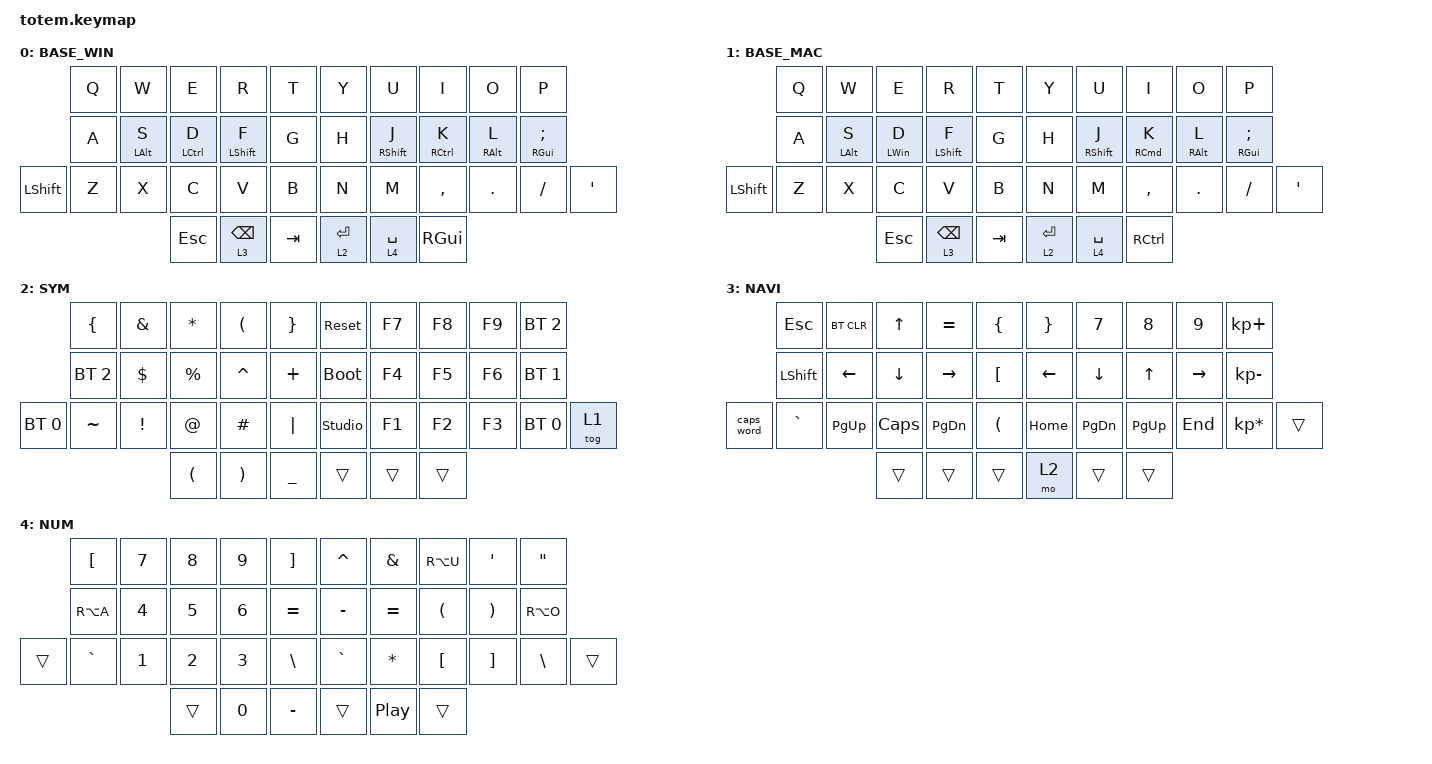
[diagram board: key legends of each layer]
//
//                                                        ▀▀▀▀▀     ▀▀▀▀▀          ▀▀█▀▀
//                                                        ▄▀▀▀▄  ▄  ▄▀▀▀▄  ▄  ▄▀▀▀▄  █  ▄▀▀▀▄
//                                                        █   █  █  █   █  █  █   █  █  █   █
//                                                         ▀▀▀   █   ▀▀▀   █   ▀▀▀   ▀   ▀▀▀
//                                                               █      ▄▄▄█▄▄▄    █   █  
//                                                               ▀      █  █  █     █▄█
//                                                             ▀▀▀▀▀    █  █  █      ▀
//                                                                      ▀  ▀  ▀
//
// ▄▄▄▄▄▄▄▄▄▄▄▄▄▄▄▄▄▄▄▄▄▄▄▄▄▄▄▄▄▄▄▄▄▄▄▄▄▄▄▄▄▄▄▄▄▄▄▄▄▄▄▄▄▄▄▄▄▄▄▄▄▄▄▄▄▄▄▄▄▄▄▄▄▄▄▄▄▄▄▄▄▄▄▄▄▄▄▄▄▄▄▄▄▄▄▄▄▄▄▄▄▄▄▄▄▄▄▄▄▄▄▄▄▄▄▄▄▄▄▄▄▄▄▄▄▄▄▄▄▄▄▄▄▄▄▄▄▄▄▄▄▄▄▄▄▄▄▄▄

#include <behaviors.dtsi>
#include <dt-bindings/zmk/bt.h>
#include <dt-bindings/zmk/keys.h>

#define BASE 0
#define NAV  1
#define SYM  2
#define ADJ  3

&mt {
    quick-tap-ms = <250>;
    global-quick-tap;
    flavor = "tap-preferred";
    tapping-term-ms = <160>;
};

&lt {
    quick-tap-ms = <250>;
    tapping-term-ms = <160>;
    flavor = "tap-preferred";
};

/ {
    combos {
        compatible = "zmk,combos";

        combo_esc {
            timeout-ms = <50>;
            key-positions = <0 1>;
            bindings = <&kp ESC>;
        };
    };

    macros {
        gif: gif {
            label = "giphy";
            compatible = "zmk,behavior-macro";
            #binding-cells = <0>;
            bindings =
                <&macro_press>,
                <&kp LSHFT>,
                <&macro_tap>,
                <&kp N2>,
                <&macro_release>,
                <&kp LSHFT>,
                <&macro_tap>,
                <&kp G &kp I &kp F>;
        };
    };

    keymap {
        compatible = "zmk,keymap";

        // ▄▄▄▄▄▄▄▄▄▄▄▄▄▄▄▄▄▄▄▄▄▄▄▄▄▄▄▄▄▄▄▄▄▄▄▄▄▄▄▄▄▄▄▄▄▄▄▄▄▄▄▄▄▄▄▄▄▄▄▄▄▄▄▄▄▄▄▄▄▄▄▄▄▄▄▄▄▄▄▄▄▄▄▄▄▄▄▄▄▄▄▄▄▄▄▄▄▄▄▄▄▄▄▄▄▄▄▄▄▄▄▄▄▄▄▄▄▄▄▄▄▄▄▄▄▄▄▄▄▄▄▄▄▄▄▄▄▄▄▄▄▄▄▄▄▄▄▄▄

        windows_base {
            // ┏━━━━━━━━━━━━━━━━━━━━━━━━━━━━━━━━━━━━━━━┓

            label = "BASE_WIN";

            // ┗━━━━━━━━━━━━━━━━━━━━━━━━━━━━━━━━━━━━━━━┛
            //             ┏━━━━━━━━━━━┳━━━━━━━━━━━┳━━━━━━━━━━━┳━━━━━━━━━━━┳━━━━━━━━━━━┓   ┏━━━━━━━━━━━┳━━━━━━━━━━━┳━━━━━━━━━━━┳━━━━━━━━━━━┳━━━━━━━━━━━┓
            //             ┃     Q     ┃     W     ┃     F     ┃     P     ┃     G     ┃   ┃     J     ┃     L     ┃     U     ┃     Y     ┃     ;     ┃
            //             ┣━━━━━━━━━━━╋━━━━━━━━━━━╋━━━━━━━━━━━╋━━━━━━━━━━━╋━━━━━━━━━━━┫   ┣━━━━━━━━━━━╋━━━━━━━━━━━╋━━━━━━━━━━━╋━━━━━━━━━━━╋━━━━━━━━━━━┫
            //             ┃     A     ┃     R     ┃     S     ┃     T     ┃     D     ┃   ┃     H     ┃     N     ┃     E     ┃     I     ┃     O     ┃
            // ┏━━━━━━━━━━━╋━━━━━━━━━━━╋━━━━━━━━━━━╋━━━━━━━━━━━╋━━━━━━━━━━━╋━━━━━━━━━━━┫   ┣━━━━━━━━━━━╋━━━━━━━━━━━╋━━━━━━━━━━━╋━━━━━━━━━━━╋━━━━━━━━━━━╋━━━━━━━━━━━┓
            // ┃           ┃     Z     ┃     X     ┃     C     ┃     V     ┃     B     ┃   ┃     K     ┃     M     ┃     ,     ┃     .     ┃     /     ┃           ┃
            // ┗━━━━━━━━━━━┻━━━━━━━━━━━┻━━━━━━━━━━━╋━━━━━━━━━━━╋━━━━━━━━━━━╋━━━━━━━━━━━┫   ┣━━━━━━━━━━━╋━━━━━━━━━━━╋━━━━━━━━━━━╋━━━━━━━━━━━┻━━━━━━━━━━━┻━━━━━━━━━━━┛
            //                                     ┃           ┃    TAB    ┃    SPC    ┃   ┃   ENTER   ┃   BSPC    ┃           ┃
            //                                     ┗━━━━━━━━━━━┻━━━━━━━━━━━┻━━━━━━━━━━━┛   ┗━━━━━━━━━━━┻━━━━━━━━━━━┻━━━━━━━━━━━┛

            bindings = <
                &kp Q  &kp W       &kp E        &kp R            &kp T      &kp Y        &kp U        &kp I          &kp O       &kp P
                &kp A  &mt LALT S  &mt LCTRL D  &mt LSHFT F      &kp G      &kp H        &mt RSHFT J  &mt RCTRL K    &mt RALT L  &mt RGUI SEMI
&kp LEFT_SHIFT  &kp Z  &kp X       &kp C        &kp V            &kp B      &kp N        &kp M        &kp COMMA      &kp DOT     &kp SLASH      &kp APOS
                                   &kp ESC      &lt 3 BACKSPACE  &kp TAB    &lt 2 ENTER  &lt 4 SPACE  &kp RIGHT_GUI
            >;
        };

        MAC_BASE {
            label = "BASE_MAC";
            bindings = <
                &kp Q  &kp W       &kp E       &kp R            &kp T      &kp Y        &kp U        &kp I       &kp O       &kp P
                &kp A  &mt LALT S  &mt LWIN D  &mt LSHFT F      &kp G      &kp H        &mt RSHFT J  &mt RCMD K  &mt RALT L  &mt RGUI SEMI
&kp LEFT_SHIFT  &kp Z  &kp X       &kp C       &kp V            &kp B      &kp N        &kp M        &kp COMMA   &kp DOT     &kp SLASH      &kp APOS
                                   &kp ESC     &lt 3 BACKSPACE  &kp TAB    &lt 2 ENTER  &lt 4 SPACE  &kp RCTRL
            >;
        };

        sym_layer {
            // ┏━━━━━━━━━━━━━━━━━━━━━━━━━━━━━━━━━━━━━━━┓

            label = "SYM";

            // ┗━━━━━━━━━━━━━━━━━━━━━━━━━━━━━━━━━━━━━━━┛
            //             ┏━━━━━━━━━━━┳━━━━━━━━━━━┳━━━━━━━━━━━┳━━━━━━━━━━━┳━━━━━━━━━━━┓   ┏━━━━━━━━━━━┳━━━━━━━━━━━┳━━━━━━━━━━━┳━━━━━━━━━━━┳━━━━━━━━━━━┓
            //             ┃   RESET   ┃ BT CLEAR  ┃  OUT TOG  ┃           ┃           ┃   ┃           ┃    F7     ┃    F8     ┃    F9     ┃    F12    ┃
            //             ┣━━━━━━━━━━━╋━━━━━━━━━━━╋━━━━━━━━━━━╋━━━━━━━━━━━╋━━━━━━━━━━━┫   ┣━━━━━━━━━━━╋━━━━━━━━━━━╋━━━━━━━━━━━╋━━━━━━━━━━━╋━━━━━━━━━━━┫
            //             ┃ BOOTLOAD  ┃ BT NEXT   ┃           ┃           ┃           ┃   ┃           ┃    F4     ┃    F5     ┃    F6     ┃    F11    ┃
            // ┏━━━━━━━━━━━╋━━━━━━━━━━━╋━━━━━━━━━━━╋━━━━━━━━━━━╋━━━━━━━━━━━╋━━━━━━━━━━━┫   ┣━━━━━━━━━━━╋━━━━━━━━━━━╋━━━━━━━━━━━╋━━━━━━━━━━━╋━━━━━━━━━━━╋━━━━━━━━━━━┓
            // ┃           ┃           ┃ BT PREV   ┃           ┃           ┃           ┃   ┃           ┃    F1     ┃    F2     ┃    F3     ┃    F10    ┃           ┃
            // ┗━━━━━━━━━━━┻━━━━━━━━━━━┻━━━━━━━━━━━╋━━━━━━━━━━━╋━━━━━━━━━━━╋━━━━━━━━━━━┫   ┣━━━━━━━━━━━╋━━━━━━━━━━━╋━━━━━━━━━━━╋━━━━━━━━━━━┻━━━━━━━━━━━┻━━━━━━━━━━━┛
            //                                     ┃           ┃           ┃           ┃   ┃           ┃           ┃           ┃
            //                                     ┗━━━━━━━━━━━┻━━━━━━━━━━━┻━━━━━━━━━━━┛   ┗━━━━━━━━━━━┻━━━━━━━━━━━┻━━━━━━━━━━━┛

            bindings = <
              &kp LEFT_BRACE  &kp AMPERSAND  &kp ASTERISK          &kp LEFT_PARENTHESIS   &kp RIGHT_BRACE    &sys_reset      &kp F7  &kp F8  &kp F9  &bt BT_SEL 2
              &bt BT_SEL 2    &kp DOLLAR     &kp PERCENT           &kp CARET              &kp PLUS           &bootloader     &kp F4  &kp F5  &kp F6  &bt BT_SEL 1
&bt BT_SEL 0  &kp TILDE       &kp EXCL       &kp AT_SIGN           &kp HASH               &kp PIPE           &studio_unlock  &kp F1  &kp F2  &kp F3  &bt BT_SEL 0  &tog 1
                                             &kp LEFT_PARENTHESIS  &kp RIGHT_PARENTHESIS  &kp UNDER          &trans          &trans  &trans
            >;
        };

        nav_layer {
            // ┏━━━━━━━━━━━━━━━━━━━━━━━━━━━━━━━━━━━━━━━┓

            label = "NAVI";

            // ┗━━━━━━━━━━━━━━━━━━━━━━━━━━━━━━━━━━━━━━━┛
            //             ┏━━━━━━━━━━━┳━━━━━━━━━━━┳━━━━━━━━━━━┳━━━━━━━━━━━┳━━━━━━━━━━━┓   ┏━━━━━━━━━━━┳━━━━━━━━━━━┳━━━━━━━━━━━┳━━━━━━━━━━━┳━━━━━━━━━━━┓
            //             ┃           ┃           ┃     UP    ┃           ┃     {     ┃   ┃     }     ┃     7     ┃     8     ┃     9     ┃     +     ┃
            //             ┣━━━━━━━━━━━╋━━━━━━━━━━━╋━━━━━━━━━━━╋━━━━━━━━━━━╋━━━━━━━━━━━┫   ┣━━━━━━━━━━━╋━━━━━━━━━━━╋━━━━━━━━━━━╋━━━━━━━━━━━╋━━━━━━━━━━━┫
            //             ┃   SHIFT   ┃   LEFT    ┃    DOWN   ┃   RIGHT   ┃     [     ┃   ┃     ]     ┃     4     ┃     5     ┃     6     ┃     -     ┃
            // ┏━━━━━━━━━━━╋━━━━━━━━━━━╋━━━━━━━━━━━╋━━━━━━━━━━━╋━━━━━━━━━━━╋━━━━━━━━━━━┫   ┣━━━━━━━━━━━╋━━━━━━━━━━━╋━━━━━━━━━━━╋━━━━━━━━━━━╋━━━━━━━━━━━╋━━━━━━━━━━━┓
            // ┃           ┃           ┃   P UP    ┃  C LOCK   ┃  P DOWN   ┃     (     ┃   ┃     )     ┃     1     ┃     2     ┃     3     ┃     *     ┃           ┃
            // ┗━━━━━━━━━━━┻━━━━━━━━━━━┻━━━━━━━━━━━╋━━━━━━━━━━━╋━━━━━━━━━━━╋━━━━━━━━━━━┫   ┣━━━━━━━━━━━╋━━━━━━━━━━━╋━━━━━━━━━━━╋━━━━━━━━━━━┻━━━━━━━━━━━┻━━━━━━━━━━━┛
            //                                     ┃           ┃    TAB    ┃    SPC    ┃   ┃    DEL    ┃     0     ┃           ┃
            //                                     ┗━━━━━━━━━━━┻━━━━━━━━━━━┻━━━━━━━━━━━┛   ┗━━━━━━━━━━━┻━━━━━━━━━━━┻━━━━━━━━━━━┛

            bindings = <
            &kp ESC    &bt BT_CLR  &kp UP    &kp EQUAL  &kp LBRC    &kp RBRC  &kp N7         &kp N8        &kp N9     &kp KP_PLUS
            &kp LSHFT  &kp LEFT    &kp DOWN  &kp RIGHT  &kp LBKT    &kp LEFT  &kp DOWN       &kp UP_ARROW  &kp RIGHT  &kp KP_MINUS
&caps_word  &kp GRAVE  &kp PG_UP   &kp CAPS  &kp PG_DN  &kp LPAR    &kp HOME  &kp PAGE_DOWN  &kp PG_UP     &kp END    &kp KP_MULTIPLY  &trans
                                   &trans    &trans     &trans      &mo 2     &trans         &trans
            >;
        };

        num_layer {
            // ┏━━━━━━━━━━━━━━━━━━━━━━━━━━━━━━━━━━━━━━━┓

            label = "NUM";

            // ┗━━━━━━━━━━━━━━━━━━━━━━━━━━━━━━━━━━━━━━━┛
            //             ┏━━━━━━━━━━━┳━━━━━━━━━━━┳━━━━━━━━━━━┳━━━━━━━━━━━┳━━━━━━━━━━━┓   ┏━━━━━━━━━━━┳━━━━━━━━━━━┳━━━━━━━━━━━┳━━━━━━━━━━━┳━━━━━━━━━━━┓
            //             ┃     !     ┃     @     ┃     #     ┃     $     ┃     %     ┃   ┃     ˆ     ┃     &     ┃     Ü     ┃     '     ┃     "     ┃
            //             ┣━━━━━━━━━━━╋━━━━━━━━━━━╋━━━━━━━━━━━╋━━━━━━━━━━━╋━━━━━━━━━━━┫   ┣━━━━━━━━━━━╋━━━━━━━━━━━╋━━━━━━━━━━━╋━━━━━━━━━━━╋━━━━━━━━━━━┫
            //             ┃     Ä     ┃           ┃    SZ     ┃           ┃           ┃   ┃   MUTE    ┃   YEN     ┃   EURO    ┃  POUND    ┃     Ö     ┃
            // ┏━━━━━━━━━━━╋━━━━━━━━━━━╋━━━━━━━━━━━╋━━━━━━━━━━━╋━━━━━━━━━━━╋━━━━━━━━━━━┫   ┣━━━━━━━━━━━╋━━━━━━━━━━━╋━━━━━━━━━━━╋━━━━━━━━━━━╋━━━━━━━━━━━╋━━━━━━━━━━━┓
            // ┃           ┃  EMAIL1   ┃  EMAIL2   ┃           ┃           ┃           ┃   ┃   VOL-    ┃   VOL+    ┃   LAST    ┃   NEXT    ┃     \     ┃           ┃
            // ┗━━━━━━━━━━━┻━━━━━━━━━━━┻━━━━━━━━━━━╋━━━━━━━━━━━╋━━━━━━━━━━━╋━━━━━━━━━━━┫   ┣━━━━━━━━━━━╋━━━━━━━━━━━╋━━━━━━━━━━━╋━━━━━━━━━━━┻━━━━━━━━━━━┻━━━━━━━━━━━┛
            //                                     ┃           ┃    GIF    ┃    ADJ    ┃   ┃           ┃           ┃           ┃
            //                                     ┗━━━━━━━━━━━┻━━━━━━━━━━━┻━━━━━━━━━━━┛   ┗━━━━━━━━━━━┻━━━━━━━━━━━┻━━━━━━━━━━━┛

            bindings = <
        &kp LEFT_BRACKET  &kp N7        &kp N8        &kp N9        &kp RIGHT_BRACKET    &kp CARET  &kp AMPS      &kp RA(U)             &kp SQT                &kp DQT
        &kp RA(A)         &kp NUMBER_4  &kp N5        &kp NUMBER_6  &kp EQUAL            &kp MINUS  &kp EQUAL     &kp LEFT_PARENTHESIS  &kp RIGHT_PARENTHESIS  &kp RA(O)
&trans  &kp GRAVE         &kp NUMBER_1  &kp NUMBER_2  &kp NUMBER_3  &kp BACKSLASH        &kp GRAVE  &kp ASTERISK  &kp LEFT_BRACKET      &kp RIGHT_BRACKET      &kp BSLH   &trans
                                        &trans        &kp N0        &kp MINUS            &trans     &kp C_PP      &trans
            >;
        };
    };
};
